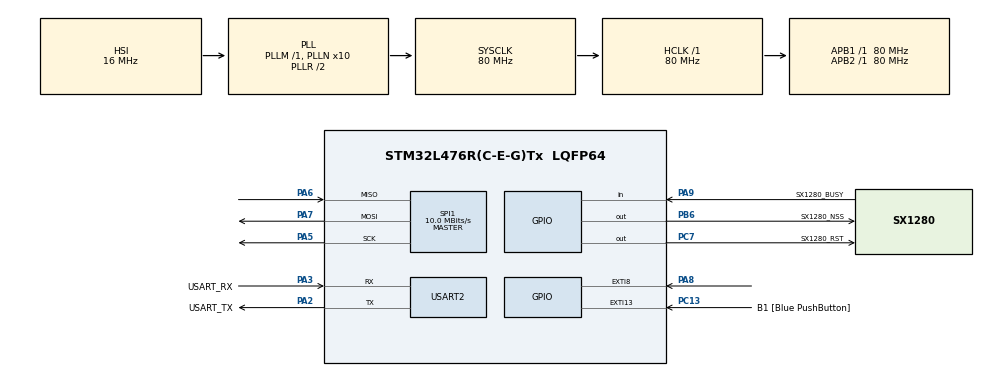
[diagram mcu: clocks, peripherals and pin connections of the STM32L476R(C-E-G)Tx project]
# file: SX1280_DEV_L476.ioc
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Mcu.Family=STM32L4
Mcu.Name=STM32L476R(C-E-G)Tx
Mcu.Package=LQFP64
NVIC.EXTI9_5_IRQn=true\:0\:0\:false\:false\:true\:true\:true\:true
NVIC.PriorityGroup=NVIC_PRIORITYGROUP_4
NVIC.SPI1_IRQn=true\:0\:0\:false\:false\:true\:true\:true\:true
NVIC.TIM2_IRQn=true\:0\:0\:false\:false\:true\:true\:true\:true
PA13\ (JTMS-SWDIO).GPIO_Label=TMS
PA13\ (JTMS-SWDIO).Mode=Serial_Wire
PA13\ (JTMS-SWDIO).Signal=SYS_JTMS-SWDIO
PA14\ (JTCK-SWCLK).GPIO_Label=TCK
PA14\ (JTCK-SWCLK).Mode=Serial_Wire
PA14\ (JTCK-SWCLK).Signal=SYS_JTCK-SWCLK
PA2.GPIO_Label=USART_TX
PA2.GPIO_Mode=GPIO_MODE_AF_PP
PA2.GPIO_PuPd=GPIO_NOPULL
PA2.GPIO_Speed=GPIO_SPEED_FREQ_VERY_HIGH
PA2.Mode=Asynchronous
PA2.Signal=USART2_TX
PA3.GPIO_Label=USART_RX
PA3.GPIO_Mode=GPIO_MODE_AF_PP
PA3.GPIO_PuPd=GPIO_NOPULL
PA3.GPIO_Speed=GPIO_SPEED_FREQ_VERY_HIGH
PA3.Mode=Asynchronous
PA3.Signal=USART2_RX
PA5.GPIO_PuPd=GPIO_PULLDOWN
PA5.Mode=Full_Duplex_Master
PA5.Signal=SPI1_SCK
PA6.GPIO_PuPd=GPIO_PULLDOWN
PA6.Mode=Full_Duplex_Master
PA6.Signal=SPI1_MISO
PA7.GPIO_PuPd=GPIO_PULLDOWN
PA7.Mode=Full_Duplex_Master
PA7.Signal=SPI1_MOSI
PA8.GPIO_ModeDefaultEXTI=GPIO_MODE_IT_RISING
PA8.GPIO_PuPd=GPIO_PULLDOWN
PA8.Signal=GPXTI8
PA9.GPIO_Label=SX1280_BUSY
PA9.GPIO_PuPd=GPIO_PULLDOWN
PA9.Signal=GPIO_Input
PB3\ (JTDO-TRACESWO).GPIO_Label=SWO
PB3\ (JTDO-TRACESWO).Signal=SYS_JTDO-SWO
PB6.GPIO_Label=SX1280_NSS
PB6.GPIO_PuPd=GPIO_PULLUP
PB6.GPIO_Speed=GPIO_SPEED_FREQ_VERY_HIGH
PB6.PinState=GPIO_PIN_SET
PB6.Signal=GPIO_Output
PC13.GPIO_Label=B1 [Blue PushButton]
PC13.GPIO_ModeDefaultEXTI=GPIO_MODE_IT_FALLING
PC13.GPIO_PuPd=GPIO_NOPULL
PC13.Signal=GPXTI13
PC14-OSC32_IN\ (PC14).Mode=LSE-External-Oscillator
PC14-OSC32_IN\ (PC14).Signal=RCC_OSC32_IN
PC15-OSC32_OUT\ (PC15).Mode=LSE-External-Oscillator
PC15-OSC32_OUT\ (PC15).Signal=RCC_OSC32_OUT
PC7.GPIO_Label=SX1280_RST
PC7.GPIO_PuPd=GPIO_PULLUP
PC7.GPIO_Speed=GPIO_SPEED_FREQ_VERY_HIGH
PC7.PinState=GPIO_PIN_SET
PC7.Signal=GPIO_Output
PH0-OSC_IN\ (PH0).Signal=RCC_OSC_IN
PH1-OSC_OUT\ (PH1).Signal=RCC_OSC_OUT
ProjectManager.HeapSize=0x200
ProjectManager.StackSize=0x400
ProjectManager.TargetToolchain=STM32CubeIDE
RCC.ADCFreq_Value=64000000
RCC.AHBFreq_Value=80000000
RCC.APB1Freq_Value=80000000
RCC.APB1TimFreq_Value=80000000
RCC.APB2Freq_Value=80000000
RCC.APB2TimFreq_Value=80000000
RCC.CortexFreq_Value=80000000
RCC.HCLKFreq_Value=80000000
RCC.HSE_VALUE=8000000
RCC.HSI_VALUE=16000000
RCC.MSI_VALUE=4000000
RCC.PLLN=10
RCC.PLLSourceVirtual=RCC_PLLSOURCE_HSI
RCC.PREFETCH_ENABLE=1
RCC.SYSCLKFreq_VALUE=80000000
RCC.SYSCLKSource=RCC_SYSCLKSOURCE_PLLCLK
RCC.USBFreq_Value=64000000
RCC.VCOOutputFreq_Value=160000000
SPI1.BaudRatePrescaler=SPI_BAUDRATEPRESCALER_8
SPI1.CalculateBaudRate=10.0 MBits/s
SPI1.DataSize=SPI_DATASIZE_8BIT
SPI1.Direction=SPI_DIRECTION_2LINES
SPI1.Mode=SPI_MODE_MASTER
SPI1.VirtualType=VM_MASTER
TIM1.Prescaler=79
TIM2.Period=999
TIM2.Prescaler=79
USART2.VirtualMode-Asynchronous=VM_ASYNC
VP_TIM1_VS_ClockSourceINT.Mode=Internal
VP_TIM2_VS_ClockSourceINT.Mode=Internal
board=NUCLEO-L476RG

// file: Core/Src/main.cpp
/* USER CODE BEGIN Header */
/**
  ******************************************************************************
  * @file           : main.c
  * @brief          : Main program body
  ******************************************************************************
  * @attention
  *
  * Copyright (c) 2023 STMicroelectronics.
  * All rights reserved.
  *
  * This software is licensed under terms that can be found in the LICENSE file
  * in the root directory of this software component.
  * If no LICENSE file comes with this software, it is provided AS-IS.
  *
  ******************************************************************************
  */
/* USER CODE END Header */
#include "main.h"

/* USER CODE BEGIN Includes */
#include <stdio.h>
#include "SX128x_OBJ.h"
/* USER CODE END Includes */

SPI_HandleTypeDef hspi1;

TIM_HandleTypeDef htim1;
TIM_HandleTypeDef htim2;

UART_HandleTypeDef huart2;

/* USER CODE BEGIN PV */
SX128x_OBJ a;
int times = 0;
/* USER CODE END PV */

void SystemClock_Config(void);
static void MX_GPIO_Init(void);
static void MX_USART2_UART_Init(void);
static void MX_SPI1_Init(void);
static void MX_TIM1_Init(void);
static void MX_TIM2_Init(void);

int main(void)
{
  /* USER CODE BEGIN 1 */
	char uart_buf[100];
	int uart_buf_len;
  /* USER CODE END 1 */

  /* MCU Configuration--------------------------------------------------------*/

  /* Reset of all peripherals, Initializes the Flash interface and the Systick. */
  HAL_Init();

  /* Configure the system clock */
  SystemClock_Config();

  /* Initialize all configured peripherals */
  MX_GPIO_Init();
  MX_USART2_UART_Init();
  MX_SPI1_Init();
  MX_TIM1_Init();
  MX_TIM2_Init();
  /* USER CODE BEGIN 2 */

  uint8_t test_packet[8] = {1, 2, 3, 4, 5, 6, 7, 8};
  uint8_t rx;

  rx = a.Init();
  if(rx == 0)
  {
	  uart_buf_len = sprintf(uart_buf, "SX1280 Initialize success\r\n");
	  HAL_UART_Transmit(&huart2, (uint8_t *)uart_buf, uart_buf_len, 100);
  }
  else
  {
	  uart_buf_len = sprintf(uart_buf, "SX1280 Initialize fail\r\n");
	  HAL_UART_Transmit(&huart2, (uint8_t *)uart_buf, uart_buf_len, 100);
	  while(1);
  }

  HAL_TIM_Base_Start_IT(&htim2);

  a.TxSetting();
  rx = a.PutPacket(test_packet); //1
  rx = a.PutPacket(test_packet); //2
  rx = a.PutPacket(test_packet); //3
  rx = a.PutPacket(test_packet); //4
  rx = a.PutPacket(test_packet); //5
  rx = a.PutPacket(test_packet); //6
  rx = a.PutPacket(test_packet); //7
  rx = a.PutPacket(test_packet); //8
  rx = a.PutPacket(test_packet); //9

  /* USER CODE END 2 */

  /* Infinite loop */
  /* USER CODE BEGIN WHILE */
  uint16_t time_temp;
  uint32_t counter = 0;
  uint32_t counter_ = 0;
  uint32_t temp_counter[2] = {0};

  time_temp = HAL_GetTick();
  counter = 0;
  counter_= 0;

  while (1)
  {
	  temp_counter[0] = counter;
	  while(a.PutPacket((uint8_t*)temp_counter))
	  {
		  counter_++;
//		  for(int i = 0; i < 10000; i++);
		  HAL_Delay(1);
	  }
//	  times++;
	  counter ++;
	  counter_++;
	  if (counter >= 100)
	  {
		  time_temp = HAL_GetTick() - time_temp;

		  float bps = 100*8*8*1000./time_temp;

		  uart_buf_len = sprintf(uart_buf, "Bit Rate: %15.5f bps, count: %3lu, total put count:%8lu\r\n", bps, counter, counter_);
		  HAL_UART_Transmit(&huart2, (uint8_t *)uart_buf, uart_buf_len, 100);

		  counter = 0;
		  counter_= 0;
		  time_temp = HAL_GetTick();
	  }

//	  uint16_t temp;
//	  temp = a.GetIrqStatus();
    /* USER CODE END WHILE */

  }
}

void SystemClock_Config(void)
{
  RCC_OscInitTypeDef RCC_OscInitStruct = {0};
  RCC_ClkInitTypeDef RCC_ClkInitStruct = {0};

  /** Configure the main internal regulator output voltage
  */
  if (HAL_PWREx_ControlVoltageScaling(PWR_REGULATOR_VOLTAGE_SCALE1) != HAL_OK)
  {
    Error_Handler();
  }

  /** Initializes the RCC Oscillators according to the specified parameters
  * in the RCC_OscInitTypeDef structure.
  */
  RCC_OscInitStruct.OscillatorType = RCC_OSCILLATORTYPE_HSI;
  RCC_OscInitStruct.HSIState = RCC_HSI_ON;
  RCC_OscInitStruct.HSICalibrationValue = RCC_HSICALIBRATION_DEFAULT;
  RCC_OscInitStruct.PLL.PLLState = RCC_PLL_ON;
  RCC_OscInitStruct.PLL.PLLSource = RCC_PLLSOURCE_HSI;
  RCC_OscInitStruct.PLL.PLLM = 1;
  RCC_OscInitStruct.PLL.PLLN = 10;
  RCC_OscInitStruct.PLL.PLLP = RCC_PLLP_DIV7;
  RCC_OscInitStruct.PLL.PLLQ = RCC_PLLQ_DIV2;
  RCC_OscInitStruct.PLL.PLLR = RCC_PLLR_DIV2;
  if (HAL_RCC_OscConfig(&RCC_OscInitStruct) != HAL_OK)
  {
    Error_Handler();
  }

  /** Initializes the CPU, AHB and APB buses clocks
  */
  RCC_ClkInitStruct.ClockType = RCC_CLOCKTYPE_HCLK|RCC_CLOCKTYPE_SYSCLK
                              |RCC_CLOCKTYPE_PCLK1|RCC_CLOCKTYPE_PCLK2;
  RCC_ClkInitStruct.SYSCLKSource = RCC_SYSCLKSOURCE_PLLCLK;
  RCC_ClkInitStruct.AHBCLKDivider = RCC_SYSCLK_DIV1;
  RCC_ClkInitStruct.APB1CLKDivider = RCC_HCLK_DIV1;
  RCC_ClkInitStruct.APB2CLKDivider = RCC_HCLK_DIV1;

  if (HAL_RCC_ClockConfig(&RCC_ClkInitStruct, FLASH_LATENCY_4) != HAL_OK)
  {
    Error_Handler();
  }
}

static void MX_SPI1_Init(void)
{

  /* SPI1 parameter configuration*/
  hspi1.Instance = SPI1;
  hspi1.Init.Mode = SPI_MODE_MASTER;
  hspi1.Init.Direction = SPI_DIRECTION_2LINES;
  hspi1.Init.DataSize = SPI_DATASIZE_8BIT;
  hspi1.Init.CLKPolarity = SPI_POLARITY_LOW;
  hspi1.Init.CLKPhase = SPI_PHASE_1EDGE;
  hspi1.Init.NSS = SPI_NSS_SOFT;
  hspi1.Init.BaudRatePrescaler = SPI_BAUDRATEPRESCALER_8;
  hspi1.Init.FirstBit = SPI_FIRSTBIT_MSB;
  hspi1.Init.TIMode = SPI_TIMODE_DISABLE;
  hspi1.Init.CRCCalculation = SPI_CRCCALCULATION_DISABLE;
  hspi1.Init.CRCPolynomial = 7;
  hspi1.Init.CRCLength = SPI_CRC_LENGTH_DATASIZE;
  hspi1.Init.NSSPMode = SPI_NSS_PULSE_ENABLE;
  if (HAL_SPI_Init(&hspi1) != HAL_OK)
  {
    Error_Handler();
  }

}

static void MX_TIM1_Init(void)
{

  TIM_ClockConfigTypeDef sClockSourceConfig = {0};
  TIM_MasterConfigTypeDef sMasterConfig = {0};

  htim1.Instance = TIM1;
  htim1.Init.Prescaler = 79;
  htim1.Init.CounterMode = TIM_COUNTERMODE_UP;
  htim1.Init.Period = 65535;
  htim1.Init.ClockDivision = TIM_CLOCKDIVISION_DIV1;
  htim1.Init.RepetitionCounter = 0;
  htim1.Init.AutoReloadPreload = TIM_AUTORELOAD_PRELOAD_DISABLE;
  if (HAL_TIM_Base_Init(&htim1) != HAL_OK)
  {
    Error_Handler();
  }
  sClockSourceConfig.ClockSource = TIM_CLOCKSOURCE_INTERNAL;
  if (HAL_TIM_ConfigClockSource(&htim1, &sClockSourceConfig) != HAL_OK)
  {
    Error_Handler();
  }
  sMasterConfig.MasterOutputTrigger = TIM_TRGO_RESET;
  sMasterConfig.MasterOutputTrigger2 = TIM_TRGO2_RESET;
  sMasterConfig.MasterSlaveMode = TIM_MASTERSLAVEMODE_DISABLE;
  if (HAL_TIMEx_MasterConfigSynchronization(&htim1, &sMasterConfig) != HAL_OK)
  {
    Error_Handler();
  }

}

static void MX_TIM2_Init(void)
{

  TIM_ClockConfigTypeDef sClockSourceConfig = {0};
  TIM_MasterConfigTypeDef sMasterConfig = {0};

  htim2.Instance = TIM2;
  htim2.Init.Prescaler = 79;
  htim2.Init.CounterMode = TIM_COUNTERMODE_UP;
  htim2.Init.Period = 999;
  htim2.Init.ClockDivision = TIM_CLOCKDIVISION_DIV1;
  htim2.Init.AutoReloadPreload = TIM_AUTORELOAD_PRELOAD_DISABLE;
  if (HAL_TIM_Base_Init(&htim2) != HAL_OK)
  {
    Error_Handler();
  }
  sClockSourceConfig.ClockSource = TIM_CLOCKSOURCE_INTERNAL;
  if (HAL_TIM_ConfigClockSource(&htim2, &sClockSourceConfig) != HAL_OK)
  {
    Error_Handler();
  }
  sMasterConfig.MasterOutputTrigger = TIM_TRGO_RESET;
  sMasterConfig.MasterSlaveMode = TIM_MASTERSLAVEMODE_DISABLE;
  if (HAL_TIMEx_MasterConfigSynchronization(&htim2, &sMasterConfig) != HAL_OK)
  {
    Error_Handler();
  }

}

static void MX_USART2_UART_Init(void)
{

  huart2.Instance = USART2;
  huart2.Init.BaudRate = 115200;
  huart2.Init.WordLength = UART_WORDLENGTH_8B;
  huart2.Init.StopBits = UART_STOPBITS_1;
  huart2.Init.Parity = UART_PARITY_NONE;
  huart2.Init.Mode = UART_MODE_TX_RX;
  huart2.Init.HwFlowCtl = UART_HWCONTROL_NONE;
  huart2.Init.OverSampling = UART_OVERSAMPLING_16;
  huart2.Init.OneBitSampling = UART_ONE_BIT_SAMPLE_DISABLE;
  huart2.AdvancedInit.AdvFeatureInit = UART_ADVFEATURE_NO_INIT;
  if (HAL_UART_Init(&huart2) != HAL_OK)
  {
    Error_Handler();
  }

}

static void MX_GPIO_Init(void)
{
  GPIO_InitTypeDef GPIO_InitStruct = {0};

  /* GPIO Ports Clock Enable */
  __HAL_RCC_GPIOC_CLK_ENABLE();
  __HAL_RCC_GPIOH_CLK_ENABLE();
  __HAL_RCC_GPIOA_CLK_ENABLE();
  __HAL_RCC_GPIOB_CLK_ENABLE();

  /*Configure GPIO pin Output Level */
  HAL_GPIO_WritePin(SX1280_RST_GPIO_Port, SX1280_RST_Pin, GPIO_PIN_SET);

  /*Configure GPIO pin Output Level */
  HAL_GPIO_WritePin(SX1280_NSS_GPIO_Port, SX1280_NSS_Pin, GPIO_PIN_SET);

  /*Configure GPIO pin : B1_Pin */
  GPIO_InitStruct.Pin = B1_Pin;
  GPIO_InitStruct.Mode = GPIO_MODE_IT_FALLING;
  GPIO_InitStruct.Pull = GPIO_NOPULL;
  HAL_GPIO_Init(B1_GPIO_Port, &GPIO_InitStruct);

  /*Configure GPIO pin : SX1280_RST_Pin */
  GPIO_InitStruct.Pin = SX1280_RST_Pin;
  GPIO_InitStruct.Mode = GPIO_MODE_OUTPUT_PP;
  GPIO_InitStruct.Pull = GPIO_PULLUP;
  GPIO_InitStruct.Speed = GPIO_SPEED_FREQ_VERY_HIGH;
  HAL_GPIO_Init(SX1280_RST_GPIO_Port, &GPIO_InitStruct);

  /*Configure GPIO pin : PA8 */
  GPIO_InitStruct.Pin = GPIO_PIN_8;
  GPIO_InitStruct.Mode = GPIO_MODE_IT_RISING;
  GPIO_InitStruct.Pull = GPIO_PULLDOWN;
  HAL_GPIO_Init(GPIOA, &GPIO_InitStruct);

  /*Configure GPIO pin : SX1280_BUSY_Pin */
  GPIO_InitStruct.Pin = SX1280_BUSY_Pin;
  GPIO_InitStruct.Mode = GPIO_MODE_INPUT;
  GPIO_InitStruct.Pull = GPIO_PULLDOWN;
  HAL_GPIO_Init(SX1280_BUSY_GPIO_Port, &GPIO_InitStruct);

  /*Configure GPIO pin : SX1280_NSS_Pin */
  GPIO_InitStruct.Pin = SX1280_NSS_Pin;
  GPIO_InitStruct.Mode = GPIO_MODE_OUTPUT_PP;
  GPIO_InitStruct.Pull = GPIO_PULLUP;
  GPIO_InitStruct.Speed = GPIO_SPEED_FREQ_VERY_HIGH;
  HAL_GPIO_Init(SX1280_NSS_GPIO_Port, &GPIO_InitStruct);

  /* EXTI interrupt init*/
  HAL_NVIC_SetPriority(EXTI9_5_IRQn, 0, 0);
  HAL_NVIC_EnableIRQ(EXTI9_5_IRQn);

}

/* USER CODE BEGIN 4 */
void HAL_SPI_TxRxCpltCallback(SPI_HandleTypeDef *spi)
{
	if(spi->Instance == SPI1)
	{
		HAL_GPIO_WritePin(SX1280_NSS_GPIO_Port, SX1280_NSS_Pin, (GPIO_PinState)1);
	}
}
/* USER CODE END 4 */

void Error_Handler(void)
{
  __disable_irq();
  while (1)
  {
  }
}
